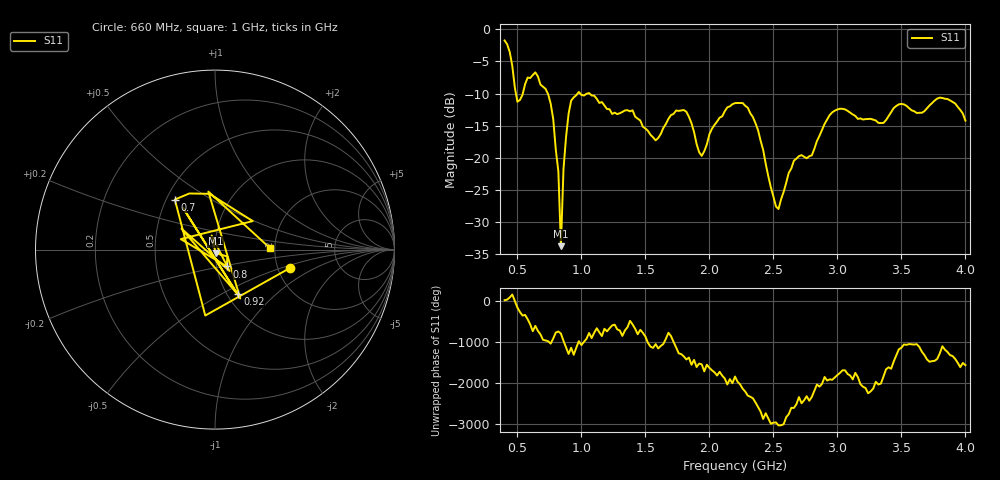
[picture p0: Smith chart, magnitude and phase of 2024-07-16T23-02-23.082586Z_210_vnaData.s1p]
!Created with skrf (http://scikit-rf.org).
# Hz S RI R 50.0
!freq ReS11 ImS11
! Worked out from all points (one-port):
!   181 points, 400 MHz to 4 GHz, reference 50 ohm
!   lowest |S11| = -33.8 dB at 840 MHz (marker M1), VSWR 1.04, Z = 50.3 - j2.01 ohm
!   |S11| at or under -10 dB: 488.4 MHz to 542.4 MHz (53.98 MHz wide, 10.5 % of centre); 737.4 MHz to 970.4 MHz (233 MHz wide, 27.3 % of centre); 1.064 GHz to end of sweep (the widest 3 of 4)
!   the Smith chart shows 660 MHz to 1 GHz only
!   S11 on the Smith chart (normalised r, x): 660 MHz: 2.33, -0.59; 700 MHz: 0.55, +0.35; 800 MHz: 1.12, -0.21; 920 MHz: 1.12, -0.60; 1 GHz: 1.89, +0.03
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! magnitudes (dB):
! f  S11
! 400 MHz  -1.7
! 440 MHz  -3.5
! 500 MHz  -11.3
! 660 MHz  -7.3
! 700 MHz  -8.9
! 760 MHz  -11.6
! 800 MHz  -18.8
! 820 MHz  -22.2
! 840 MHz  -33.8
! 860 MHz  -21.8
! 920 MHz  -11.1
! 1 GHz  -10.2
! 1.3 GHz  -13.1
! 1.58 GHz  -17.3
! 1.76 GHz  -12.7
! 1.82 GHz  -12.9
! 1.94 GHz  -19.7
! 2.2 GHz  -11.5
! 2.36 GHz  -14.6
! 2.54 GHz  -28.0
! 2.66 GHz  -20.5
! 2.8 GHz  -19.7
! 2.96 GHz  -12.9
! 3.1 GHz  -13.0
! 3.36 GHz  -14.6
! 3.56 GHz  -12.3
! 3.86 GHz  -10.9
! 4 GHz  -14.2
